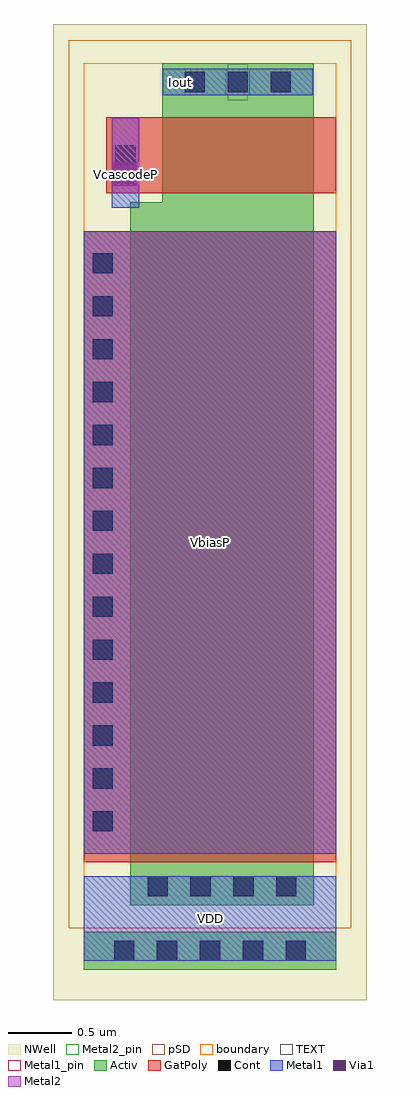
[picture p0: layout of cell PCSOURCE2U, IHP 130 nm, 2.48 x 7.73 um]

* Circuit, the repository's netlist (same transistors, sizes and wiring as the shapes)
* Extracted by KLayout with SG13G2 LVS runset on : 27/08/2025 20:52

.SUBCKT PCSOURCE2U
M$1 \$2 \$5 \$10 \$2 sg13_lv_pmos L=5u W=1.45u AS=0.493p AD=0.20875p PS=3.58u
+ PD=1.75u
M$2 \$10 \$1 \$6 \$2 sg13_lv_pmos L=0.6u W=1.2u AS=0.20875p AD=0.516p PS=1.75u
+ PD=3.26u
.ENDS PCSOURCE2U

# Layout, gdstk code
from math import pi, radians
import gdstk
lib = gdstk.Library(unit=1e-6, precision=1e-09)
def R(c, l, rs):  # rectangles x0, y0, x1, y1
    for r in rs: c.add(gdstk.rectangle(r[:2], r[2:], *l))
def A(c, l, x, y, w, h, nx, ny, dx, dy):  # array of equal rectangles
    R(c, l, [(x+i*dx, y+j*dy, x+i*dx+w, y+j*dy+h) for i in range(nx) for j in range(ny)])
Activ = (1, 0)
GatPoly = (5, 0)
Cont = (6, 0)
Metal1 = (8, 0)
Metal1_pin = (8, 2)
Metal2 = (10, 0)
Metal2_pin = (10, 2)
pSD = (14, 0)
Via1 = (19, 0)
NWell = (31, 0)
TEXT = (63, 0)
boundary = (189, 4)

feol_contacts_4 = lib.new_cell('FEOL$contacts$4')
A(feol_contacts_4, Cont, 0.175, 0, 0.16, 0.16, 14, 1, 0.34, 0)
R(feol_contacts_4, Metal1, [(0,0,4.93,0.16)])

feol_contacts_7 = lib.new_cell('FEOL$contacts$7')
A(feol_contacts_7, Cont, 0.135, 0, 0.16, 0.16, 4, 1, 0.34, 0)
R(feol_contacts_7, Metal1, [(0,0,1.45,0.16)])

feol_contacts_5 = lib.new_cell('FEOL$contacts$5')
A(feol_contacts_5, Cont, 0.2, 0, 0.16, 0.16, 5, 1, 0.34, 0)
R(feol_contacts_5, Metal1, [(0,0,1.92,0.16)])

feol_contacts_6 = lib.new_cell('FEOL$contacts$6')
A(feol_contacts_6, Cont, 0.16, 0, 0.16, 0.16, 3, 1, 0.34, 0)
R(feol_contacts_6, Metal1, [(0,0,1.16,0.16)])

feol_contacts_1 = lib.new_cell('FEOL$contacts$1')
R(feol_contacts_1, Cont, [(0.18,0,0.34,0.16)])
R(feol_contacts_1, Metal1, [(0,0,0.52,0.16)])

pcsource2u = lib.new_cell('PCSOURCE2U')
R(pcsource2u, Activ, [(-1,-6.3,1,-6), (-0.63,-5.79,0.82,-0.22), (-0.38,-0.38,0.82,0.88)])
R(pcsource2u, GatPoly, [(-1,-5.45,1,-0.45), (-0.82,-0.15,1,0.45)])
R(pcsource2u, Metal1, [(-1,-6.23,1,-5.56), (-1,-5.38,1,-0.45), (-0.78,-0.265,-0.56,0.445), (-0.375,0.625,0.815,0.835)])
R(pcsource2u, Metal1_pin, [(-1,-6.23,1,-5.56), (-1,-5.38,1,-0.45), (-0.375,0.625,0.815,0.835)])
R(pcsource2u, Metal2, [(-0.78,-0.145,-0.56,0.445)])
R(pcsource2u, Metal2_pin, [(-0.775,-0.145,-0.565,0.445)])
R(pcsource2u, pSD, [(-1.12,-5.97,1.12,1.06)])
R(pcsource2u, Via1, [(-0.765,-0.095,-0.575,0.095)])
R(pcsource2u, NWell, [(-1.24,-6.54,1.24,1.19)])
R(pcsource2u, TEXT, [(0.14,0.585,0.3,0.875), (0.125,0.635,0.315,0.825)])
R(pcsource2u, boundary, [(-1,-6.3,1,0.88)])
pcsource2u.add(gdstk.Reference(feol_contacts_4, (-0.77,-5.38), rotation=pi/2))
pcsource2u.add(gdstk.Reference(feol_contacts_7, (-0.63,-5.72)))
pcsource2u.add(gdstk.Reference(feol_contacts_5, (-0.96,-6.23)))
pcsource2u.add(gdstk.Reference(feol_contacts_6, (-0.36,0.65)))
pcsource2u.add(gdstk.Reference(feol_contacts_1, (-0.59,-0.11), rotation=pi/2))
pcsource2u.add(gdstk.Label('Iout', (-0.23,0.73), layer=8, texttype=2))
pcsource2u.add(gdstk.Label('VbiasP', (0,-2.915), layer=8, texttype=2))
pcsource2u.add(gdstk.Label('VDD', (0,-5.895), layer=8, texttype=2))
pcsource2u.add(gdstk.Label('VcascodeP', (-0.67,0), layer=10, texttype=2))

lib.write_gds('PCSOURCE2U.gds')
